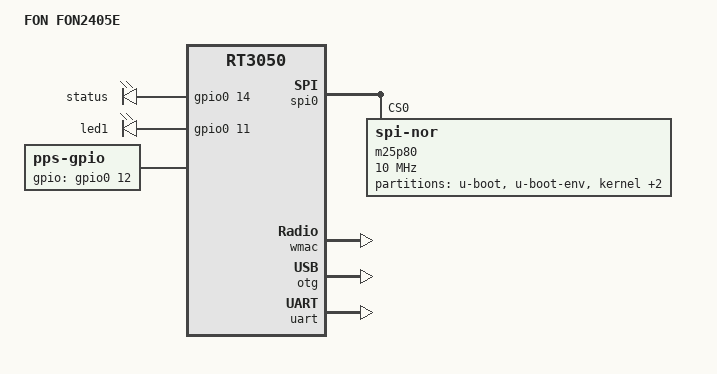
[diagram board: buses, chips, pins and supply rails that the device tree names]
/dts-v1/;

#include <dt-bindings/gpio/tegra-gpio.h>
#include "rt3050.dtsi"

/ {
	compatible = "FON2405E", "ralink,rt3050-soc";
	model = "FON FON2405E";

        aliases {
//		serial0 = &uart;
		serial0 = &uartlite;
        };

	gpio-leds {
		compatible = "gpio-leds";

		status {
			label = "status";
			gpios = <&gpio0 14 0>;
		};

		led1 {
			label = "led1";
			gpios = <&gpio0 11 0>;
		};
	};
	pps {
		compatible = "pps-gpio";
		gpios = <&gpio0 12 GPIO_ACTIVE_HIGH>;
		status = "okay";
	};
};

&spi0 {
	status = "okay";

	m25p80@0 {
		#address-cells = <1>;
		#size-cells = <1>;
		compatible = "jedec,spi-nor";
		reg = <0>;
		linux,modalias = "m25p80", "mx25l3205d";
		spi-max-frequency = <10000000>;

		partition@0 {
			label = "u-boot";
			reg = <0x0 0x10000>;
			read-only;
		};

		factory: partition@10000 {
			label = "u-boot-env";
			reg = <0x10000 0x10000>;
			read-only;
		};
/*
		factory: partition@20000 {
			label = "firmware";
			reg = <0x20000 0x7e0000>;
		};
*/
		partition@20000 {
			label = "kernel";
			reg = <0x20000 0x100000>;
		};

		partition@120000 {
			label = "rootfs";
			reg = <0x120000 0x6e0000>;
		};
		partition@800000 {
			label = "upgrade";
			reg = <0x20000 0x7e0000>;
		};
	};
};

&pinctrl {
	state_default: pinctrl0 {
		gpio {
			ralink,group = "i2c", "jtag", "rgmii", "mdio";
			ralink,function = "gpio";
		};
		uartf {
			ralink,group = "uartf";
			ralink,function = "gpio uartf";
		};

	};
};

&ethernet {
	mtd-mac-address = <&factory 0x28>;
};

&esw {
	mediatek,portmap = <0x2f>;
};

&wmac {
	ralink,mtd-eeprom = <&factory 0>;
};

&otg {
	status = "okay";
};

&uart {
        status = "okay";
};
